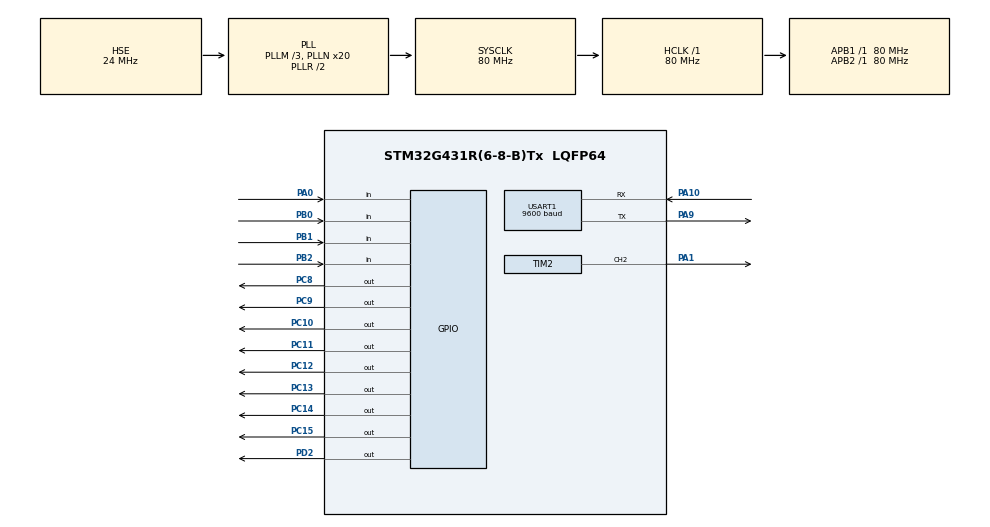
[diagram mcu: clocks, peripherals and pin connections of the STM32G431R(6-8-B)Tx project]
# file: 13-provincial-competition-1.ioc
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Mcu.Family=STM32G4
Mcu.Name=STM32G431R(6-8-B)Tx
Mcu.Package=LQFP64
NVIC.PriorityGroup=NVIC_PRIORITYGROUP_4
NVIC.TIM1_TRG_COM_TIM17_IRQn=true\:0\:0\:false\:false\:true\:true\:true\:true
NVIC.TIM3_IRQn=true\:0\:0\:false\:false\:true\:true\:true\:true
NVIC.TIM4_IRQn=true\:0\:0\:false\:false\:true\:true\:true\:true
NVIC.USART1_IRQn=true\:0\:0\:false\:false\:true\:true\:true\:true
PA0.GPIO_PuPd=GPIO_PULLUP
PA0.Signal=GPIO_Input
PA1.Signal=S_TIM2_CH2
PA10.Mode=Asynchronous
PA10.Signal=USART1_RX
PA13.Mode=Serial_Wire
PA13.Signal=SYS_JTMS-SWDIO
PA14.Mode=Serial_Wire
PA14.Signal=SYS_JTCK-SWCLK
PA9.Mode=Asynchronous
PA9.Signal=USART1_TX
PB0.GPIO_Mode=GPIO_MODE_INPUT
PB0.GPIO_PuPd=GPIO_PULLUP
PB0.Signal=GPIO_Input
PB1.GPIO_Mode=GPIO_MODE_INPUT
PB1.GPIO_PuPd=GPIO_PULLUP
PB1.Signal=GPIO_Input
PB2.GPIO_Mode=GPIO_MODE_INPUT
PB2.GPIO_PuPd=GPIO_PULLUP
PB2.Signal=GPIO_Input
PC10.PinState=GPIO_PIN_SET
PC10.Signal=GPIO_Output
PC11.PinState=GPIO_PIN_SET
PC11.Signal=GPIO_Output
PC12.PinState=GPIO_PIN_SET
PC12.Signal=GPIO_Output
PC13.PinState=GPIO_PIN_SET
PC13.Signal=GPIO_Output
PC14-OSC32_IN.PinState=GPIO_PIN_SET
PC14-OSC32_IN.Signal=GPIO_Output
PC15-OSC32_OUT.PinState=GPIO_PIN_SET
PC15-OSC32_OUT.Signal=GPIO_Output
PC8.PinState=GPIO_PIN_SET
PC8.Signal=GPIO_Output
PC9.PinState=GPIO_PIN_SET
PC9.Signal=GPIO_Output
PD2.Signal=GPIO_Output
PF0-OSC_IN.Mode=HSE-External-Oscillator
PF0-OSC_IN.Signal=RCC_OSC_IN
PF1-OSC_OUT.Mode=HSE-External-Oscillator
PF1-OSC_OUT.Signal=RCC_OSC_OUT
ProjectManager.HeapSize=0x200
ProjectManager.StackSize=0x400
ProjectManager.TargetToolchain=MDK-ARM V5.32
RCC.ADC12Freq_Value=80000000
RCC.AHBFreq_Value=80000000
RCC.APB1Freq_Value=80000000
RCC.APB1TimFreq_Value=80000000
RCC.APB2Freq_Value=80000000
RCC.APB2TimFreq_Value=80000000
RCC.CortexFreq_Value=80000000
RCC.EXTERNAL_CLOCK_VALUE=12288000
RCC.HCLKFreq_Value=80000000
RCC.HSE_VALUE=24000000
RCC.HSI48_VALUE=48000000
RCC.HSI_VALUE=16000000
RCC.LSE_VALUE=32768
RCC.PLLM=RCC_PLLM_DIV3
RCC.PLLN=20
RCC.PLLSourceVirtual=RCC_PLLSOURCE_HSE
RCC.SYSCLKFreq_VALUE=80000000
RCC.SYSCLKSource=RCC_SYSCLKSOURCE_PLLCLK
RCC.USBFreq_Value=80000000
RCC.VCOOutputFreq_Value=160000000
SH.S_TIM2_CH2.0=TIM2_CH2,PWM Generation2 CH2
TIM17.Prescaler=80-1
TIM2.Channel-PWM\ Generation2\ CH2=TIM_CHANNEL_2
TIM2.PeriodNoDither=100-1
TIM2.Prescaler=800-1
TIM3.PeriodNoDither=10000-1
TIM3.Prescaler=8000-1
TIM4.PeriodNoDither=1000-1
TIM4.Prescaler=8000-1
TIM8.Prescaler=8000-1
USART1.BaudRate=9600
USART1.VirtualMode-Asynchronous=VM_ASYNC
VP_SYS_VS_DBSignals.Mode=DisableDeadBatterySignals
VP_TIM17_VS_ClockSourceINT.Mode=Enable_Timer
VP_TIM3_VS_ClockSourceINT.Mode=Internal
VP_TIM4_VS_ClockSourceINT.Mode=Internal
VP_TIM8_VS_ClockSourceINT.Mode=Internal
board=custom

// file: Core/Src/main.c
/* USER CODE BEGIN Header */
/**
  ******************************************************************************
  * @file           : main.c
  * @brief          : Main program body
  ******************************************************************************
  * @attention
  *
  * Copyright (c) 2025 STMicroelectronics.
  * All rights reserved.
  *
  * This software is licensed under terms that can be found in the LICENSE file
  * in the root directory of this software component.
  * If no LICENSE file comes with this software, it is provided AS-IS.
  *
  ******************************************************************************
  */
/* USER CODE END Header */
#include "main.h"
#include "tim.h"
#include "usart.h"
#include "gpio.h"

/* USER CODE BEGIN Includes */
#include "stdio.h"
#include "stdint.h"
#include "string.h"
#include "lcd.h"
/* USER CODE END Includes */

/* USER CODE BEGIN PV */
char text[20];
char psd[11] = {'@', '0','1', '2', '3', '4', '5', '6', '7', '8', '9'};
char b1='1', b2='2', b3='3';
uint8_t key_val, key_up, key_down, key_last_val;
uint8_t psd_right, d, b1_cnt, b2_cnt, b3_cnt, psd_page=1, tim3_flag=0, sec_5=0;
uint32_t f;
uint8_t led1_flag=0, led2_flag=0, error_times=0, error_cnt=0;
uint8_t rec_data, rec_flag, count;char send_buf[255], rec_buf[255];
char i_b1, i_b2, i_b3, tmp1, tmp2, tmp3;
/* USER CODE END PV */

void SystemClock_Config(void);
/* USER CODE BEGIN PFP */
void LCD_Proc(void);
void LED_Proc(void);
void KEY_Proc(void);
void PWM_Proc(void);
void USART_Proc(void);
void LED_Show(uint8_t led, uint8_t mode);
/* USER CODE END PFP */

int main(void)
{

  /* MCU Configuration--------------------------------------------------------*/

  /* Reset of all peripherals, Initializes the Flash interface and the Systick. */
  HAL_Init();

  /* Configure the system clock */
  SystemClock_Config();

  /* Initialize all configured peripherals */
  MX_GPIO_Init();
  MX_TIM2_Init();
  MX_TIM17_Init();
  MX_TIM3_Init();
  MX_TIM4_Init();
  MX_USART1_UART_Init();
  MX_TIM8_Init();
  /* USER CODE BEGIN 2 */
    // LCD
    LCD_Init();
    LCD_Clear(Black);
    LCD_SetBackColor(Black);
    LCD_SetTextColor(White);
    // TIM
    HAL_TIM_PWM_Start(&htim2, TIM_CHANNEL_2);
    TIM2->CCR2=50;
    HAL_TIM_Base_Start(&htim8);
    // USART
    HAL_UART_Receive_IT(&huart1, &rec_data, 1);
  /* USER CODE END 2 */

  /* Infinite loop */
  /* USER CODE BEGIN WHILE */
  while (1)
  {
      PWM_Proc();
      LCD_Proc();
      LED_Proc();
      KEY_Proc();
      if(error_times>=3){
          error_times=0;
          TIM4->CNT=0;
          HAL_TIM_Base_Start_IT(&htim4);
      }
      if(error_cnt==50){
          error_cnt=0;
          HAL_TIM_Base_Stop_IT(&htim4);
          TIM4->CNT=0;
      }
      USART_Proc();
    /* USER CODE END WHILE */

  }
}

void SystemClock_Config(void)
{
  RCC_OscInitTypeDef RCC_OscInitStruct = {0};
  RCC_ClkInitTypeDef RCC_ClkInitStruct = {0};

  /** Configure the main internal regulator output voltage
  */
  HAL_PWREx_ControlVoltageScaling(PWR_REGULATOR_VOLTAGE_SCALE1);

  /** Initializes the RCC Oscillators according to the specified parameters
  * in the RCC_OscInitTypeDef structure.
  */
  RCC_OscInitStruct.OscillatorType = RCC_OSCILLATORTYPE_HSE;
  RCC_OscInitStruct.HSEState = RCC_HSE_ON;
  RCC_OscInitStruct.PLL.PLLState = RCC_PLL_ON;
  RCC_OscInitStruct.PLL.PLLSource = RCC_PLLSOURCE_HSE;
  RCC_OscInitStruct.PLL.PLLM = RCC_PLLM_DIV3;
  RCC_OscInitStruct.PLL.PLLN = 20;
  RCC_OscInitStruct.PLL.PLLP = RCC_PLLP_DIV2;
  RCC_OscInitStruct.PLL.PLLQ = RCC_PLLQ_DIV2;
  RCC_OscInitStruct.PLL.PLLR = RCC_PLLR_DIV2;
  if (HAL_RCC_OscConfig(&RCC_OscInitStruct) != HAL_OK)
  {
    Error_Handler();
  }

  /** Initializes the CPU, AHB and APB buses clocks
  */
  RCC_ClkInitStruct.ClockType = RCC_CLOCKTYPE_HCLK|RCC_CLOCKTYPE_SYSCLK
                              |RCC_CLOCKTYPE_PCLK1|RCC_CLOCKTYPE_PCLK2;
  RCC_ClkInitStruct.SYSCLKSource = RCC_SYSCLKSOURCE_PLLCLK;
  RCC_ClkInitStruct.AHBCLKDivider = RCC_SYSCLK_DIV1;
  RCC_ClkInitStruct.APB1CLKDivider = RCC_HCLK_DIV1;
  RCC_ClkInitStruct.APB2CLKDivider = RCC_HCLK_DIV1;

  if (HAL_RCC_ClockConfig(&RCC_ClkInitStruct, FLASH_LATENCY_2) != HAL_OK)
  {
    Error_Handler();
  }
}

/* USER CODE BEGIN 4 */
void LCD_Proc(void){
    if(psd_right==0){
        sprintf(text, "       PSD          ");
        LCD_DisplayStringLine(Line1, (uint8_t*)text);
        sprintf(text, "    B1:%c         ", psd[b1_cnt]);
        LCD_DisplayStringLine(Line3, (uint8_t*)text);
        sprintf(text, "    B2:%c         ", psd[b2_cnt]);
        LCD_DisplayStringLine(Line4, (uint8_t*)text);
        sprintf(text, "    B3:%c         ", psd[b3_cnt]);
        LCD_DisplayStringLine(Line5, (uint8_t*)text);
    }else{
        sprintf(text, "       STA          ");
        LCD_DisplayStringLine(Line1, (uint8_t*)text);
        sprintf(text, "    F:%dHz      ", f);
        LCD_DisplayStringLine(Line3, (uint8_t*)text);
        sprintf(text, "    D:%d%%          ", d);
        LCD_DisplayStringLine(Line4, (uint8_t*)text);
    }
}
void LED_Show(uint8_t led, uint8_t mode){
    if(mode){
        HAL_GPIO_WritePin(GPIOC, led<<8, GPIO_PIN_RESET);
        HAL_GPIO_WritePin(GPIOD, GPIO_PIN_2, GPIO_PIN_SET);
        HAL_GPIO_WritePin(GPIOD, GPIO_PIN_2, GPIO_PIN_RESET);
    }else{
        HAL_GPIO_WritePin(GPIOC, led<<8, GPIO_PIN_SET);
        HAL_GPIO_WritePin(GPIOD, GPIO_PIN_2, GPIO_PIN_SET);
        HAL_GPIO_WritePin(GPIOD, GPIO_PIN_2, GPIO_PIN_RESET);
    }
}
uint8_t KEY_Scan(){
    uint8_t key_value=0;
    if(HAL_GPIO_ReadPin(GPIOB, GPIO_PIN_0)==GPIO_PIN_RESET){
        key_value=1;
    }
    if(HAL_GPIO_ReadPin(GPIOB, GPIO_PIN_1)==GPIO_PIN_RESET){
        key_value=2;
    }
    if(HAL_GPIO_ReadPin(GPIOB, GPIO_PIN_2)==GPIO_PIN_RESET){
        key_value=3;
    }
    if(HAL_GPIO_ReadPin(GPIOA, GPIO_PIN_0)==GPIO_PIN_RESET){
        key_value=4;
    }
    return key_value;
}
void KEY_Proc(void){
    key_val=KEY_Scan();
    key_down=key_val&(key_val^key_last_val);
    key_up=~key_val&(key_val^key_last_val);
    if(key_down==1 && psd_page){
        b1_cnt++;
        if(b1_cnt>10) b1_cnt=1;
    }
    if(key_down==2 && psd_page){
        b2_cnt++;
        if(b2_cnt>10) b2_cnt=1;
    }
    if(key_down==3 && psd_page){
        b3_cnt++;
        if(b3_cnt>10) b3_cnt=1;
    }
    if(key_down==4){
        if(psd[b1_cnt]==b1 && psd[b2_cnt]==b2 && psd[b3_cnt]==b3){
            psd_right=1;
            LCD_Clear(Black);
            tim3_flag=1;
            led1_flag=1;
            TIM3->CNT=0;
        }else{
            psd_right=0;
            LCD_Clear(Black);
            b1_cnt=b2_cnt=b3_cnt=0;
            tim3_flag=0;
            error_times++;
        }
    }
    key_last_val=key_val;
}
void LED_Proc(void){
    LED_Show(0x01, led1_flag);
    LED_Show(0x02, led2_flag);
}
void USART_Proc(void){
    if(rec_flag){
        if(TIM8->CNT>15){
            sscanf(rec_buf, "%c%c%c-%c%c%c", &i_b1, &i_b2, &i_b3, &tmp1, &tmp2, &tmp3);
            if(i_b1==b1 && i_b2 ==b2 && i_b3==b3){
                b1=tmp1;
                b2=tmp2;
                b3=tmp3;
            }
            memset(rec_buf, 0, sizeof(rec_buf));
            count=0;
        }
    }
}
void HAL_UART_RxCpltCallback(UART_HandleTypeDef *huart){
    if(huart->Instance==USART1){
        rec_buf[count]=rec_data;
        count++;
        TIM8->CNT=0;
        HAL_UART_Receive_IT(huart, &rec_data, 1);
        rec_flag=1;
    }
}
void PWM_Proc(void){
    if(psd_right && tim3_flag){
        f = 2000;
        d=10;
        HAL_TIM_PWM_Stop(&htim2, TIM_CHANNEL_2);
        __HAL_TIM_SET_PRESCALER(&htim2, 400-1);
        TIM2->CCR2=10;
        HAL_TIM_PWM_Start(&htim2, TIM_CHANNEL_2);
        HAL_TIM_Base_Start_IT(&htim3);
    }else{
        f=1000;
        d=50;
        HAL_TIM_PWM_Stop(&htim2, TIM_CHANNEL_2);
        __HAL_TIM_SET_PRESCALER(&htim2, 800-1);
        TIM2->CCR2=50;
        HAL_TIM_PWM_Start(&htim2, TIM_CHANNEL_2);
        HAL_TIM_Base_Stop_IT(&htim3);
        TIM3->CNT=0;
    }
}
void HAL_TIM_PeriodElapsedCallback(TIM_HandleTypeDef *htim){
    if(htim->Instance==TIM3){
        sec_5++;
        if(sec_5==5){
            tim3_flag=0;
            sec_5=0;
            psd_right=0;
            led1_flag=0;
            b1_cnt=b2_cnt=b3_cnt=0;
        }
    }
    if(htim->Instance==TIM4){
        error_cnt++;
        led2_flag^=1;
    }
}
/* USER CODE END 4 */

void Error_Handler(void)
{
  __disable_irq();
  while (1)
  {
  }
}
